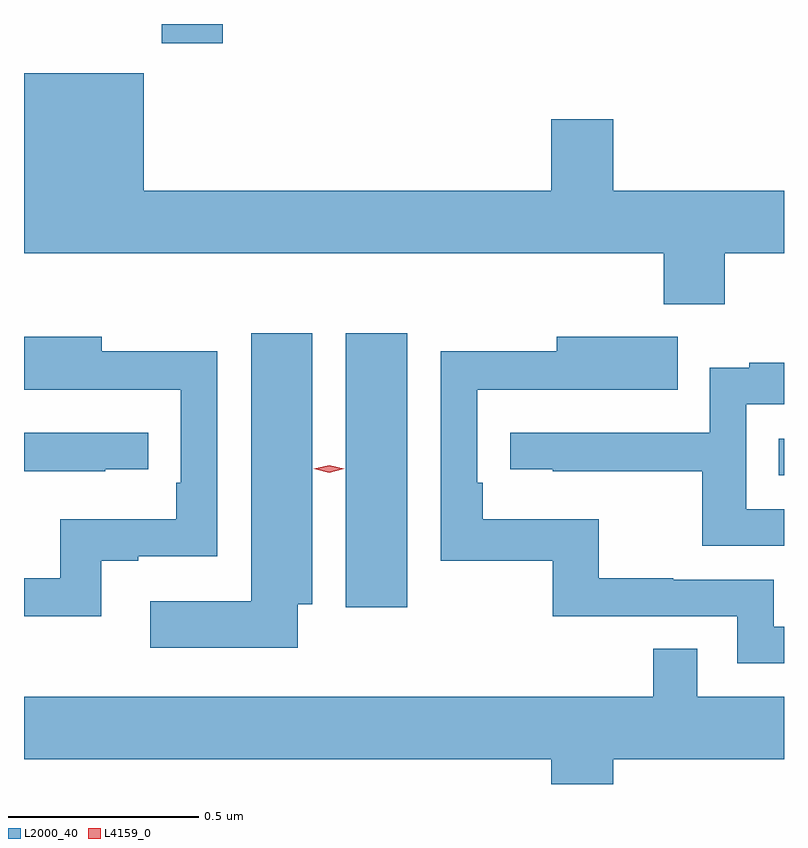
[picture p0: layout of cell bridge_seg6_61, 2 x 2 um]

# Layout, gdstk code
import gdstk
lib = gdstk.Library(unit=1e-6, precision=1e-09)
def R(c, l, rs):  # rectangles x0, y0, x1, y1
    for r in rs: c.add(gdstk.rectangle(r[:2], r[2:], *l))
def P(c, l, *ps):  # polygons
    for p in ps: c.add(gdstk.Polygon(p, *l))
L2000_40 = (2000, 40)
L4159_0 = (4159, 0)

bridge_seg6_61 = lib.new_cell('bridge_seg6_61')
R(bridge_seg6_61, L2000_40, [(1087.544,917.1,1087.705,917.821), (1088.683,917.448,1088.697,917.544), (1087.06,918.585,1087.22,918.635)])
P(bridge_seg6_61, L2000_40, [(1088.541,918.032),(1088.697,918.032),(1088.697,918.196),(1088.248,918.196),(1088.248,918.385),(1088.084,918.385),(1088.084,918.196),(1087.012,918.196),(1087.012,918.505),(1086.697,918.505),(1086.697,918.032),(1088.381,918.032),(1088.381,917.897),(1088.541,917.897)],
  [(1087.417,917.108),(1087.456,917.108),(1087.456,917.821),(1087.295,917.821),(1087.295,917.116),(1087.029,917.116),(1087.029,916.994),(1087.417,916.994)],
  [(1086.9,917.223),(1086.997,917.223),(1086.997,917.235),(1087.206,917.235),(1087.206,917.774),(1086.901,917.774),(1086.901,917.812),(1086.697,917.812),(1086.697,917.672),(1086.797,917.672),(1086.797,917.673),(1087.11,917.673),(1087.11,917.428),(1087.097,917.428),(1087.097,917.332),(1086.792,917.332),(1086.792,917.177),(1086.697,917.177),(1086.697,917.076),(1086.9,917.076)],
  [(1088.697,917.049),(1088.67,917.049),(1088.67,917.172),(1088.405,917.172),(1088.405,917.177),(1088.209,917.177),(1088.209,917.332),(1087.904,917.332),(1087.904,917.428),(1087.89,917.428),(1087.89,917.673),(1088.203,917.673),(1088.203,917.672),(1088.417,917.672),(1088.417,917.812),(1088.099,917.812),(1088.099,917.774),(1087.794,917.774),(1087.794,917.223),(1088.088,917.223),(1088.088,917.076),(1088.574,917.076),(1088.574,916.953),(1088.697,916.953)],
  [(1088.697,917.358),(1088.598,917.358),(1088.598,917.634),(1088.697,917.634),(1088.697,917.743),(1088.605,917.743),(1088.605,917.731),(1088.502,917.731),(1088.502,917.559),(1087.977,917.559),(1087.977,917.463),(1088.089,917.463),(1088.089,917.458),(1088.482,917.458),(1088.482,917.262),(1088.697,917.262)],
  [(1086.911,917.463),(1087.024,917.463),(1087.024,917.559),(1086.697,917.559),(1086.697,917.458),(1086.911,917.458)],
  [(1088.248,916.7),(1088.697,916.7),(1088.697,916.864),(1088.469,916.864),(1088.469,916.991),(1088.353,916.991),(1088.353,916.864),(1086.697,916.864),(1086.697,916.7),(1088.084,916.7),(1088.084,916.635),(1088.248,916.635)])
P(bridge_seg6_61, L4159_0, [(1087.5,917.454),(1087.46,917.464),(1087.46,917.464),(1087.46,917.464),(1087.5,917.474),(1087.54,917.464),(1087.54,917.464),(1087.54,917.464)])

lib.write_gds('bridge_seg6_61.gds')
